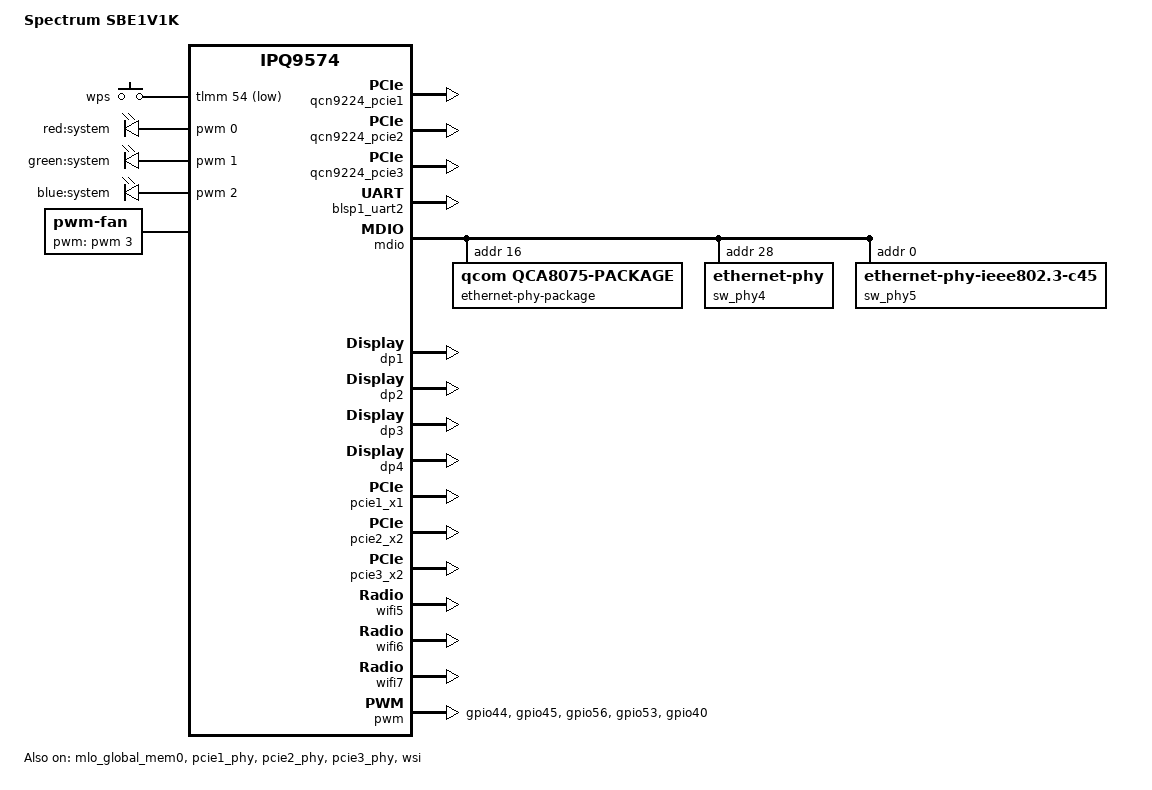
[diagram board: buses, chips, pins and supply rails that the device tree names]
// SPDX-License-Identifier: (GPL-2.0+ OR BSD-3-Clause)
/*
 * Spectrum SBE1V1K (Askey) - IPQ9574 + 3 x QCN9224
 *
 * STAGED DRAFT.  This file has NOT been applied to sources/, has never been
 * built with make, and has never been booted.  It exists so the device
 * definition can be reviewed before the build stage is approved.
 *
 * Evidence tags used below:
 *   RD = arch/arm64/boot/dts/qcom/ipq9574-rdp433.dts
 *        (oss-kernel-linux-ipq-files, the reference board for this target)
 *   DS = ipq9574.dtsi / ipq9574-qcn9224-default-memory.dtsi
 *   S1 = Spectrum product DTB extracted from the vendor firmware (QSDK 13,
 *        Linux 6.6.47) - extracted/kernel/sbe1v1k.dtb
 *   S2 = Askey QSDK-14 DTB extracted from the reference firmware
 *        (Linux 6.6.116, this ath12k generation) -
 *        extracted/qsdk14/sbe1v1k-askey.dtb
 *   NET = base-files/etc/board.d/01_network from the vendor rootfs
 *
 * See docs/PB_DEVICE_DEFINITION.md for the per-value evidence table and for
 * the list of values that remain UNVERIFIED.
 */

/dts-v1/;

#include <dt-bindings/gpio/gpio.h>
#include <dt-bindings/input/input.h>
#include <dt-bindings/leds/common.h>
#include "ipq9574.dtsi"
#include "ipq9574-qcn9224-default-memory.dtsi"

/ {
	/* S1: "Spectrum SBE1V1K ( Wi-Fi 7 320MHZ )"; shortened, no changed meaning */
	model = "Spectrum SBE1V1K";

	/*
	 * The first string is what /lib/preinit/02_sysinfo writes to
	 * /tmp/sysinfo/board_name (strings /proc/device-tree/compatible | head -1),
	 * and every board.d branch in the vendor rootfs keys on it (S1, NET).
	 */
	compatible = "spectrum,sbe1v1k", "qcom,ipq9574-ap-al02-c4",
		     "qcom,ipq9574-al02", "qcom,ipq9574";

	aliases {
		/* Console.  DS defines serial0..2 nowhere; RD does it this way. */
		serial0 = &blsp1_uart2;

		/*
		 * Documentation only: nss_dp_main.c never calls of_alias_get_id(),
		 * so ethN are assigned by DT probe order (see the dp nodes below).
		 * RD's "/soc/dpN" strings no longer resolve (the node is soc@0).
		 */
		ethernet0 = &dp1;	/* 10G   RTL8261N  */
		ethernet1 = &dp2;	/* 2.5G  QCA8081   */
		ethernet2 = &dp3;	/* 1G    qca8075   */
		ethernet3 = &dp4;	/* 1G    qca8075   */
	};

	chosen {
		stdout-path = "serial0:115200n8";

		/*
		 * S1 carries the same option.  S1 also appends
		 * "cnss2.enable_mlo_support=1", which only applies to the qcawifi
		 * stack and is deliberately not carried over.
		 *
		 * RD's "pcie_pme=nomsi" is NOT copied: the vendor product DTB (S1)
		 * does not set it, so it is not part of this board's boot contract.
		 */
		bootargs-append = " fstools_ignore_partname=1";
	};
};

/*
 * ---------------------------------------------------------------------------
 * Reserved memory
 * ---------------------------------------------------------------------------
 */

/*
 * DS emits nss@40000000 only under #if defined(__IPQ_PROFILE_MINENT__), which
 * no target in this tree defines.  S1 proves the vendor reserves it and the
 * NSS firmware requires it.  32 MB at 0x40000000..0x42000000 is the reason
 * Device/spectrum_sbe1v1k must set KERNEL_LOADADDR := 0x42000000; the target's
 * Device/Default falls back to 0x40000000 because CONFIG_ENABLE_UBI_CORE is
 * not a defined symbol anywhere.
 */
&{/reserved-memory} {
	nss@40000000 {
		no-map;
		reg = <0x0 0x40000000 0x0 0x2000000>;
		status = "okay";
	};

	/*
	 * DS ships three 36 MB windows whose node names encode the default base
	 * addresses.  S2 (the same board, same driver generation) uses 64 MB
	 * windows at 0x50100000 / 0x54100000 / 0x58100000 but left the node unit
	 * addresses at the old values.  The nodes are deleted and redeclared so
	 * the unit address matches reg.
	 *
	 * Why the region base and size are what matters, and the cnss-node
	 * base-addr/caldb-addr properties are not: ath12k looks the region up by
	 * name ("host-ddr-mem", ath12k/core.c: ath12k_core_get_reserved_mem_by_name)
	 * and then lays out every firmware chunk sequentially from its base
	 * (ath12k/qmi.c: ab->qmi.target_mem[idx].paddr = ddr_rmem->base + sz).
	 * Nothing in ath12k reads base-addr / hremote-size.
	 */
	/delete-node/ qcn9224_pcie1@50100000;
	/delete-node/ qcn9224_pcie2@52500000;
	/delete-node/ qcn9224_pcie3@54900000;

	qcn9224_pcie1: qcn9224_pcie1@50100000 {
		no-map;
		reg = <0x0 0x50100000 0x0 0x4000000>;
		status = "okay";
	};

	qcn9224_pcie2: qcn9224_pcie2@54100000 {
		no-map;
		reg = <0x0 0x54100000 0x0 0x4000000>;
		status = "okay";
	};

	qcn9224_pcie3: qcn9224_pcie3@58100000 {
		no-map;
		reg = <0x0 0x58100000 0x0 0x4000000>;
		status = "okay";
	};
};

/*
 * mhi_region1..3 stay disabled, exactly as in RD and S2: RD only enables them
 * under __MHI_BUS_RESERVED_DMA_POOL__, a macro no build in this tree defines.
 */

/* S2 and RD both enable this one. */
&mlo_global_mem0 {
	status = "okay";
};

/*
 * ---------------------------------------------------------------------------
 * Console
 * ---------------------------------------------------------------------------
 */

&blsp1_uart2 {
	pinctrl-0 = <&uart2_pins>;
	pinctrl-names = "default";
	status = "okay";
};

/*
 * ---------------------------------------------------------------------------
 * Ethernet: MDIO, PHYs, switch, nss-dp
 * ---------------------------------------------------------------------------
 */

/* S1: two reset lines, tlmm 60 (qca8075) and tlmm 52 (RTL8261N). */
&mdio {
	pinctrl-0 = <&mdio_pins>;
	pinctrl-names = "default";
	phy-reset-gpio = <&tlmm 60 GPIO_ACTIVE_LOW &tlmm 52 GPIO_ACTIVE_LOW>;
	status = "okay";

	ethernet-phy-package@0 {
		compatible = "qcom,qca8075-package";
		#address-cells = <1>;
		#size-cells = <0>;
		reg = <0x10>;
		qcom,package-mode = "qsgmii";

		sw_phy0: ethernet-phy@10 {
			reg = <0x10>;
		};

		sw_phy1: ethernet-phy@11 {
			reg = <0x11>;
		};

		sw_phy2: ethernet-phy@12 {
			reg = <0x12>;
		};

		sw_phy3: ethernet-phy@13 {
			reg = <0x13>;
		};
	};

	/* QCA8081 2.5G, S1 reg 0x1c */
	sw_phy4: ethernet-phy@1c {
		reg = <0x1c>;
	};

	/* RTL8261N 10G, C45, S1 reg 0x00 */
	sw_phy5: ethernet-phy@0 {
		compatible = "ethernet-phy-ieee802.3-c45";
		reg = <0x0>;
	};
};

&ess_switch {
	switch_cpu_bmp = <0x1>;
	switch_inner_bmp = <0x80>;
	/* S1/NET: port 5 is WAN; ports 3, 4 and 6 are LAN (0x58 = BIT(3)|BIT(4)|BIT(6)) */
	switch_lan_bmp = <0x58>;
	switch_wan_bmp = <0x20>;
	/* S1: QSGMII / SGMII_CHANNEL0 / USXGMII */
	switch_mac_mode = <0x0b>;
	switch_mac_mode1 = <0x0f>;
	switch_mac_mode2 = <0x0d>;
	bm_tick_mode = <0>;
	tm_tick_mode = <0>;

	qcom,port_phyinfo {
		port@0 {
			port_id = <1>;
			phy_address = <0x10>;
			phy-handle = <&sw_phy0>;
			phy-mode = "qsgmii";
		};

		port@1 {
			port_id = <2>;
			phy_address = <0x11>;
			phy-handle = <&sw_phy1>;
			phy-mode = "qsgmii";
		};

		port@2 {
			port_id = <3>;
			phy_address = <0x12>;
			phy-handle = <&sw_phy2>;
			phy-mode = "qsgmii";
		};

		port@3 {
			port_id = <4>;
			phy_address = <0x13>;
			phy-handle = <&sw_phy3>;
			phy-mode = "qsgmii";
		};

		port@4 {
			port_id = <5>;
			phy_address = <0x1c>;
			phy-handle = <&sw_phy4>;
			phy-mode = "sgmii";
			port_mac_sel = "QGMAC_PORT";
		};

		port@5 {
			port_id = <6>;
			phy_address = <0x0>;
			phy-handle = <&sw_phy5>;
			phy-mode = "usxgmii";
			ethernet-phy-ieee802.3-c45;
		};
	};

	/* S1: QCA8081 LED sources for port 5; parsed by ssdk_dt_parse_port_ledinfo */
	qcom,port_ledinfo {
		port5 {
			port = <5>;

			led_source@f {
				source = <0xf>;
				mode = "normal";
				speed = "all";
				blink_en = "enable";
				freq = "auto";
				active = "low";
			};

			led_source@10 {
				source = <0x10>;
				mode = "normal";
				speed = "all";
				blink_en = "enable";
				freq = "auto";
				active = "low";
			};
		};
	};
};

/*
 * nss-dp probe order defines ethN: probe order is DT order, and
 * alloc_etherdev_mqs() hands out eth%d sequentially (nss_dp_main.c:1133).
 * The order below reproduces the vendor mapping recorded in NET:
 *   eth0 = dp1 = port 6 = RTL8261N 10G   (attached to br-lan by eth0-lan-attach)
 *   eth1 = dp2 = port 5 = QCA8081 2.5G   (wan)
 *   eth2 = dp3 = port 3 = qca8075        (lan)
 *   eth3 = dp4 = port 4 = qca8075        (lan)
 *
 * phy-mode is deliberately absent on every dp node.  of_get_phy_mode() fails,
 * which sets phylink_en = true (nss_dp_main.c:891 -- the sense of that branch
 * is inverted relative to a normal success check), and ssdk_port_phylink_setup()
 * then takes the interface type and phy-handle from qcom,port_phyinfo above.
 * This is RD's arrangement.  S1 instead put phy-mode/qcom,phy-mdio-addr on the
 * dp nodes, which selects the legacy phy_connect() path in a driver generation
 * this build does not use.
 *
 * mactype: 0 = qcom_gmac_ops (1G GMAC), 1 = syn_gmac_ops (Synopsys XGMAC).
 * For ipq95xx only hal/gmac_ops/qcom/qcom_if.o and hal/gmac_ops/syn/xgmac/syn_if.o
 * are linked (oss-lklm-nss-dp/Makefile), and nss_ipq95xx.c registers exactly
 * those two types.  Port 6 is USXGMII and therefore needs the XGMAC base
 * (0x3a514000) with mactype 1.  S2 -- the QSDK-14 build for this same board,
 * i.e. the driver generation this tree uses -- pairs dp1 id 6 / 0x3a514000 with
 * mactype 1.  S1 pairs that base with mactype 0, which is an artifact of its
 * older driver.  RD has no XGMAC port (its dp1 is port 1 at 0x3a001000,
 * mactype 0), so it is not evidence either way for port 6.
 *
 * qcom,ppe-offload-disabled is deliberately NOT copied from RD's dp1..dp4:
 * NSS/PPE offload is a requirement for this build.
 */
&soc {
	dp1: dp1 {
		device_type = "network";
		compatible = "qcom,nss-dp";
		qcom,id = <6>;
		reg = <0x3a514000 0x4000>;
		qcom,mactype = <1>;
		local-mac-address = [00 00 00 00 00 00];
	};

	dp2: dp2 {
		device_type = "network";
		compatible = "qcom,nss-dp";
		qcom,id = <5>;
		reg = <0x3a001800 0x200>;
		qcom,mactype = <0>;
		local-mac-address = [00 00 00 00 00 00];
	};

	dp3: dp3 {
		device_type = "network";
		compatible = "qcom,nss-dp";
		qcom,id = <3>;
		reg = <0x3a001400 0x200>;
		qcom,mactype = <0>;
		local-mac-address = [00 00 00 00 00 00];
	};

	dp4: dp4 {
		device_type = "network";
		compatible = "qcom,nss-dp";
		qcom,id = <4>;
		reg = <0x3a001600 0x200>;
		qcom,mactype = <0>;
		local-mac-address = [00 00 00 00 00 00];
	};
};

/*
 * ---------------------------------------------------------------------------
 * PCIe / Wi-Fi: three QCN9224 behind the WSI ring
 * ---------------------------------------------------------------------------
 */

&pcie1_phy {
	status = "okay";
};

&pcie2_phy {
	status = "okay";
};

&pcie3_phy {
	status = "okay";
};

/* RD and S2 carry identical chip_info */
&wsi {
	id = <0>;
	num_chip = <3>;
	status = "okay";
	chip_info = <0 2 1 2>,
		    <1 2 2 0>,
		    <2 2 0 1>;
};

/*
 * The wifi@0 property sets below are S2's, and S2's board_id/caldata_offset
 * values are identical to RD's, which is independent confirmation that they
 * describe this hardware and not a reference board:
 *   pcie1 -> wifi5, board_id 1, wsi_index 2, caldata 0x58800
 *   pcie2 -> wifi6, board_id 4, wsi_index 0, caldata 0x8a800 (WSI controller)
 *   pcie3 -> wifi7, board_id 2, wsi_index 1, caldata 0xbc800
 * qcom,caldata_offset is consumed by U-Boot's fdt_fixup
 * (oss-boot-u-boot/board/qti/common/fdt_fixup.c:410), not by the kernel.
 *
 * qcom,early_cal_enabled = "disabled" on all three follows S2.  RD marks the
 * second and third controllers "supported"; S2 is the same board, so S2 wins.
 *
 * The memory-region phandles point at mhi_regionN even though those pools stay
 * disabled -- S2 and RD both do this; ath12k only resolves host-ddr-mem and
 * mlo-global-mem by name.
 */

&pcie1_x1 {
	perst-gpios = <&tlmm 26 GPIO_ACTIVE_LOW>;
	status = "okay";

	pcie@0 {
		device_type = "pci";
		reg = <0x0 0x0 0x0 0x0 0x0>;
		#address-cells = <3>;
		#size-cells = <2>;
		ranges;

		wifi@0 {
			boot-args = <0x2 0x4 0x34 0x3 0x0 0x0
				     0x4 0x4 0x18 0x3 0x0 0x0
				     0x0 0x4 0x0 0x0 0x0 0x0>;
			memory-region = <&qcn9224_pcie1>, <&mhi_region1>, <&mlo_global_mem0>;
			memory-region-names = "host-ddr-mem", "mhi-region", "mlo-global-mem";
			reg = <0x0 0x0 0x0 0x0 0x0>;
			qcom,early_cal_enabled = "disabled";
			qcom,caldata_offset = <0x58800>;
			qcom,caldb_offset = <0x1100000>;
			qcom,caldb_size = <0x800000>;
			qcom,board_id = <0x01>;
			qcom,wsi = <&wsi>;
			qcom,wsi_index = <2>;
			qcom,pta-num = <0>;
			qcom,coex-mode = <0x2>;
			qcom,bt-active-time = <0x18>;
			qcom,bt-priority-time = <0x12>;
			qcom,coex-algo = <0x2>;
			qcom,pta-priority = <0x80800505>;

			ports {
				#address-cells = <1>;
				#size-cells = <0>;

				port@0 {
					reg = <0>;

					wifi1_wsi_tx: endpoint {
						remote-endpoint = <&wifi2_wsi_rx>;
					};
				};

				port@1 {
					reg = <1>;

					wifi1_wsi_rx: endpoint {
						remote-endpoint = <&wifi3_wsi_tx>;
					};
				};
			};
		};
	};
};

&pcie2_x2 {
	perst-gpios = <&tlmm 29 GPIO_ACTIVE_LOW>;
	status = "okay";

	pcie@0 {
		device_type = "pci";
		reg = <0x0 0x0 0x0 0x0 0x0>;
		#address-cells = <3>;
		#size-cells = <2>;
		ranges;

		wifi@0 {
			boot-args = <0x2 0x4 0x34 0x3 0x0 0x0
				     0x4 0x4 0x18 0x3 0x0 0x0
				     0x0 0x4 0x0 0x0 0x0 0x0>;
			memory-region = <&qcn9224_pcie2>, <&mhi_region2>, <&mlo_global_mem0>;
			memory-region-names = "host-ddr-mem", "mhi-region", "mlo-global-mem";
			reg = <0x0 0x0 0x0 0x0 0x0>;
			qcom,early_cal_enabled = "disabled";
			qcom,caldata_offset = <0x8a800>;
			qcom,caldb_offset = <0x1100000>;
			qcom,caldb_size = <0x800000>;
			qcom,board_id = <0x04>;
			qcom,wsi = <&wsi>;
			qcom,wsi_index = <0>;
			qcom,wsi-controller;

			ports {
				#address-cells = <1>;
				#size-cells = <0>;

				port@0 {
					reg = <0>;

					wifi2_wsi_tx: endpoint {
						remote-endpoint = <&wifi3_wsi_rx>;
					};
				};

				port@1 {
					reg = <1>;

					wifi2_wsi_rx: endpoint {
						remote-endpoint = <&wifi1_wsi_tx>;
					};
				};
			};
		};
	};
};

&pcie3_x2 {
	perst-gpios = <&tlmm 32 GPIO_ACTIVE_LOW>;
	status = "okay";

	pcie@0 {
		device_type = "pci";
		reg = <0x0 0x0 0x0 0x0 0x0>;
		#address-cells = <3>;
		#size-cells = <2>;
		ranges;

		wifi@0 {
			boot-args = <0x2 0x4 0x34 0x3 0x0 0x0
				     0x4 0x4 0x18 0x3 0x0 0x0
				     0x0 0x4 0x0 0x0 0x0 0x0>;
			memory-region = <&qcn9224_pcie3>, <&mhi_region3>, <&mlo_global_mem0>;
			memory-region-names = "host-ddr-mem", "mhi-region", "mlo-global-mem";
			reg = <0x0 0x0 0x0 0x0 0x0>;
			qcom,early_cal_enabled = "disabled";
			qcom,caldata_offset = <0xbc800>;
			qcom,caldb_offset = <0x1100000>;
			qcom,caldb_size = <0x800000>;
			qcom,board_id = <0x02>;
			qcom,wsi = <&wsi>;
			qcom,wsi_index = <1>;

			ports {
				#address-cells = <1>;
				#size-cells = <0>;

				port@0 {
					reg = <0>;

					wifi3_wsi_tx: endpoint {
						remote-endpoint = <&wifi1_wsi_rx>;
					};
				};

				port@1 {
					reg = <1>;

					wifi3_wsi_rx: endpoint {
						remote-endpoint = <&wifi2_wsi_tx>;
					};
				};
			};
		};
	};
};

&wifi5 {
	hremote_node = <&qcn9224_pcie1>;
	board_id = <0x01>;
	hw_link_id = <0 0>;
	status = "okay";
};

&wifi6 {
	hremote_node = <&qcn9224_pcie2>;
	board_id = <0x04>;
	hw_link_id = <1 0>;
	status = "okay";
};

&wifi7 {
	hremote_node = <&qcn9224_pcie3>;
	board_id = <0x02>;
	hw_link_id = <2 0>;
	status = "okay";
};

/*
 * The DS cnss nodes still describe the 36 MB layout at
 * 0x50100000 / 0x52500000 / 0x54900000.  ath12k ignores these properties (see
 * the reserved-memory comment), but they are kept consistent with the 64 MB
 * regions so that no consumer -- current or legacy -- reads a stale address.
 * The arithmetic is base + 0x1100000 (hremote) / 0x800000 (caldb) /
 * 0x100000 (m3 dump) / 0x100000 (etr) / 0x900000 (pageable) = base + 42 MB,
 * inside the 64 MB region.
 *
 * NOTE: these overrides are unconditional and therefore assume the default
 * (non-512 MB) memory profile.  __IPQ_MEM_PROFILE_512_MB__ must not be defined
 * for this device.
 */
&wifi5 {
	base-addr = <0x50100000>;
	caldb-addr = <0x51200000>;
	m3-dump-addr = <0x51a00000>;
	etr-addr = <0x51b00000>;
	pageable-addr = <0x51c00000>;
};

&wifi6 {
	base-addr = <0x54100000>;
	caldb-addr = <0x55200000>;
	m3-dump-addr = <0x55a00000>;
	etr-addr = <0x55b00000>;
	pageable-addr = <0x55c00000>;
};

&wifi7 {
	base-addr = <0x58100000>;
	caldb-addr = <0x59200000>;
	m3-dump-addr = <0x59a00000>;
	etr-addr = <0x59b00000>;
	pageable-addr = <0x59c00000>;
};

/*
 * ---------------------------------------------------------------------------
 * Buttons, LEDs, fan
 * ---------------------------------------------------------------------------
 */

&tlmm {
	button_pins: button-pins {
		pins = "gpio54";
		function = "gpio";
		drive-strength = <8>;
		bias-pull-up;
	};

	/*
	 * S1's pwm_pinmux.  The four "pwm" entries prove which pads are routed to
	 * the PWM block; they do NOT prove which PWM channel drives which pad.
	 * gpio40 is configured by the vendor as a pulled-up GPIO inside the same
	 * state and is reproduced here as-is.
	 */
	pwm_pins: pwm-pins {
		mux_red {
			pins = "gpio44";
			function = "pwm";
			drive-strength = <8>;
			bias-disable;
		};

		mux_green {
			pins = "gpio45";
			function = "pwm";
			drive-strength = <8>;
			bias-disable;
		};

		mux_blue {
			pins = "gpio56";
			function = "pwm";
			drive-strength = <8>;
			bias-disable;
		};

		mux_fan {
			pins = "gpio53";
			function = "pwm";
			drive-strength = <8>;
			bias-disable;
		};

		mux_5 {
			pins = "gpio40";
			function = "gpio";
			drive-strength = <8>;
			bias-pull-up;
		};
	};
};

&pwm {
	pinctrl-0 = <&pwm_pins>;
	pinctrl-names = "default";
	status = "okay";
};

&soc {
	/*
	 * S1 labels this button "wps" with linux,code = KEY_WPS_BUTTON, but its
	 * pinmux group is called "reset_button".  Which function the physical
	 * button really has is UNVERIFIED; see docs/PB_DEVICE_DEFINITION.md.
	 */
	gpio_keys {
		compatible = "gpio-keys";
		pinctrl-0 = <&button_pins>;
		pinctrl-names = "default";
		status = "okay";

		button@1 {
			label = "wps";
			linux,code = <KEY_WPS_BUTTON>;
			gpios = <&tlmm 54 GPIO_ACTIVE_LOW>;
			linux,input-type = <1>;
			debounce-interval = <60>;
		};
	};

	/*
	 * The vendor disables leds-gpio and drives /sys/class/pwm/pwmchip0 from
	 * a Go daemon (usr/bin/factory-pwm).  A pwm-leds node is the in-kernel
	 * equivalent.  Channel assignment (0=red, 1=green, 2=blue) is UNVERIFIED;
	 * only channel 3 -> fan is proven, by S1's pwm-fan node.  A wrong channel
	 * mapping is cosmetic; it cannot damage the board.
	 */
	leds {
		compatible = "pwm-leds";

		led-red {
			label = "red:system";
			pwms = <&pwm 0 40000 0>;
			default-state = "off";
		};

		led-green {
			label = "green:system";
			pwms = <&pwm 1 40000 0>;
			default-state = "off";
		};

		led-blue {
			label = "blue:system";
			pwms = <&pwm 2 40000 0>;
			default-state = "off";
		};
	};

	/*
	 * S1 verbatim: channel 3, 40 us period, four cooling levels.
	 *
	 * There is no cooling-device link to a thermal zone anywhere in DS/RD/S1,
	 * so with this node alone the fan stays at cooling level 0 (off) unless
	 * userspace drives /sys/class/hwmon/hwmonX/pwm1.  The vendor fills that
	 * gap with its Go daemon.  This build has no equivalent yet -- tracked as
	 * a P-C deliverable and a thermal-safety item in the device-definition doc.
	 */
	pwm-fan {
		compatible = "pwm-fan";
		cooling-min-state = <0>;
		cooling-max-state = <3>;
		pwms = <&pwm 3 40000 0>;
		cooling-levels = <0 0x55 0xaa 0xff>;
		#cooling-cells = <2>;
	};
};
